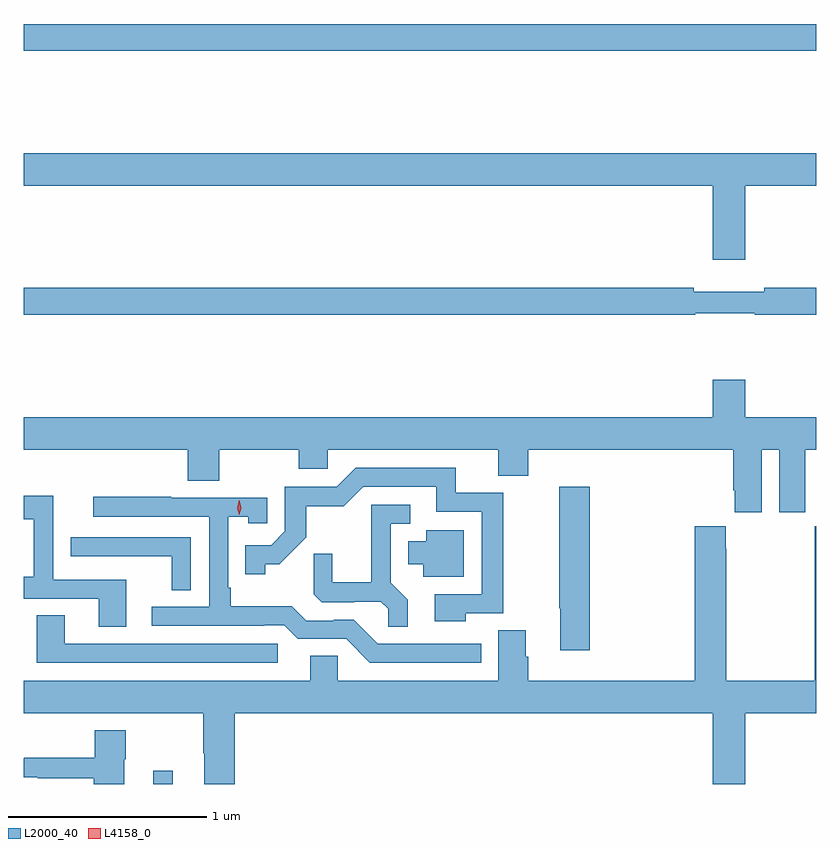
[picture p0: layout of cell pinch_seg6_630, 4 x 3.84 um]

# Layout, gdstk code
import gdstk
lib = gdstk.Library(unit=1e-6, precision=1e-09)
def R(c, l, rs):  # rectangles x0, y0, x1, y1
    for r in rs: c.add(gdstk.rectangle(r[:2], r[2:], *l))
def P(c, l, *ps):  # polygons
    for p in ps: c.add(gdstk.Polygon(p, *l))
L2000_40 = (2000, 40)
L4158_0 = (4158, 0)

pinch_seg6_630 = lib.new_cell('pinch_seg6_630')
R(pinch_seg6_630, L2000_40, [(389.957,924.336,390.055,924.403), (389.303,928.036,393.303,928.172)])
P(pinch_seg6_630, L2000_40, [(392.944,927.356),(393.303,927.356),(393.303,927.52),(389.303,927.52),(389.303,927.356),(392.78,927.356),(392.78,926.982),(392.944,926.982)],
  [(392.692,926.712),(392.992,926.712),(392.992,926.704),(393.303,926.704),(393.303,926.84),(393.04,926.84),(393.04,926.821),(392.684,926.821),(392.684,926.84),(389.303,926.84),(389.303,926.704),(392.692,926.704)],
  [(389.303,926.024),(390.131,926.024),(390.131,925.867),(390.291,925.867),(390.291,926.024),(390.691,926.024),(390.691,925.926),(390.837,925.926),(390.837,926.024),(391.697,926.024),(391.697,925.891),(391.85,925.891),(391.85,926.024),(392.885,926.024),(392.885,925.819),(392.891,925.819),(392.891,925.707),(393.028,925.707),(393.028,926.024),(393.116,926.024),(393.116,925.707),(393.247,925.707),(393.247,926.024),(393.303,926.024),(393.303,926.188),(392.944,926.188),(392.944,926.377),(392.78,926.377),(392.78,926.188),(389.303,926.188)],
  [(391.533,925.197),(391.723,925.197),(391.723,925.806),(391.484,925.806),(391.484,925.932),(390.978,925.932),(390.882,925.836),(390.621,925.836),(390.621,925.611),(390.552,925.542),(390.421,925.542),(390.421,925.395),(390.522,925.395),(390.522,925.445),(390.592,925.445),(390.73,925.582),(390.73,925.738),(390.919,925.738),(391.017,925.836),(391.385,925.836),(391.385,925.71),(391.614,925.71),(391.614,925.293),(391.377,925.293),(391.377,925.157),(391.533,925.157)],
  [(392.159,925.837),(392.005,925.837),(392.005,925.223),(392.012,925.223),(392.012,925.011),(392.159,925.011)],
  [(389.821,925.368),(389.451,925.368),(389.451,925.792),(389.303,925.792),(389.303,925.672),(389.354,925.672),(389.354,925.381),(389.303,925.381),(389.303,925.272),(389.681,925.272),(389.681,925.129),(389.821,925.129)],
  [(391.612,925.044),(391.089,925.044),(390.969,925.164),(390.868,925.164),(390.868,925.161),(390.729,925.161),(390.656,925.234),(390.349,925.234),(390.349,925.327),(390.336,925.327),(390.336,925.685),(390.435,925.685),(390.435,925.653),(390.531,925.653),(390.531,925.782),(390.047,925.782),(390.047,925.785),(389.655,925.785),(389.655,925.686),(390.24,925.686),(390.24,925.23),(389.949,925.23),(389.949,925.134),(390.518,925.134),(390.518,925.137),(390.618,925.137),(390.687,925.068),(390.93,925.068),(391.05,924.948),(391.612,924.948)],
  [(391.241,925.265),(391.155,925.351),(391.155,925.65),(391.255,925.65),(391.255,925.746),(391.058,925.746),(391.058,925.354),(390.86,925.354),(390.86,925.497),(390.766,925.497),(390.766,925.295),(390.807,925.254),(390.972,925.254),(390.972,925.257),(391.106,925.257),(391.143,925.22),(391.143,925.129),(391.241,925.129)],
  [(392.78,924.336),(392.944,924.336),(392.944,924.692),(393.303,924.692),(393.303,925.636),(393.295,925.636),(393.295,924.856),(392.85,924.856),(392.85,925.523),(392.845,925.523),(392.845,925.636),(392.69,925.636),(392.69,924.856),(391.85,924.856),(391.85,924.978),(391.837,924.978),(391.837,925.112),(391.697,925.112),(391.697,924.856),(390.888,924.856),(390.888,924.983),(390.749,924.983),(390.749,924.856),(389.303,924.856),(389.303,924.692),(390.208,924.692),(390.208,924.49),(390.215,924.49),(390.215,924.336),(390.368,924.336),(390.368,924.692),(392.78,924.692)],
  [(391.525,925.618),(391.334,925.618),(391.334,925.561),(391.244,925.561),(391.244,925.445),(391.319,925.445),(391.319,925.382),(391.525,925.382)],
  [(390.147,925.581),(389.541,925.581),(389.541,925.486),(389.653,925.486),(389.653,925.485),(390.049,925.485),(390.049,925.315),(390.147,925.315)],
  [(390.586,925.044),(389.509,925.044),(389.509,925.187),(389.369,925.187),(389.369,924.948),(390.586,924.948)],
  [(389.809,924.462),(389.817,924.462),(389.817,924.607),(389.662,924.607),(389.662,924.468),(389.305,924.468),(389.305,924.465),(389.303,924.465),(389.303,924.369),(389.374,924.369),(389.374,924.364),(389.657,924.364),(389.657,924.336),(389.809,924.336)])
P(pinch_seg6_630, L4158_0, [(390.39,925.695),(390.39,925.695),(390.38,925.731),(390.39,925.767),(390.39,925.767),(390.391,925.767),(390.4,925.731),(390.391,925.695)])

lib.write_gds('pinch_seg6_630.gds')
